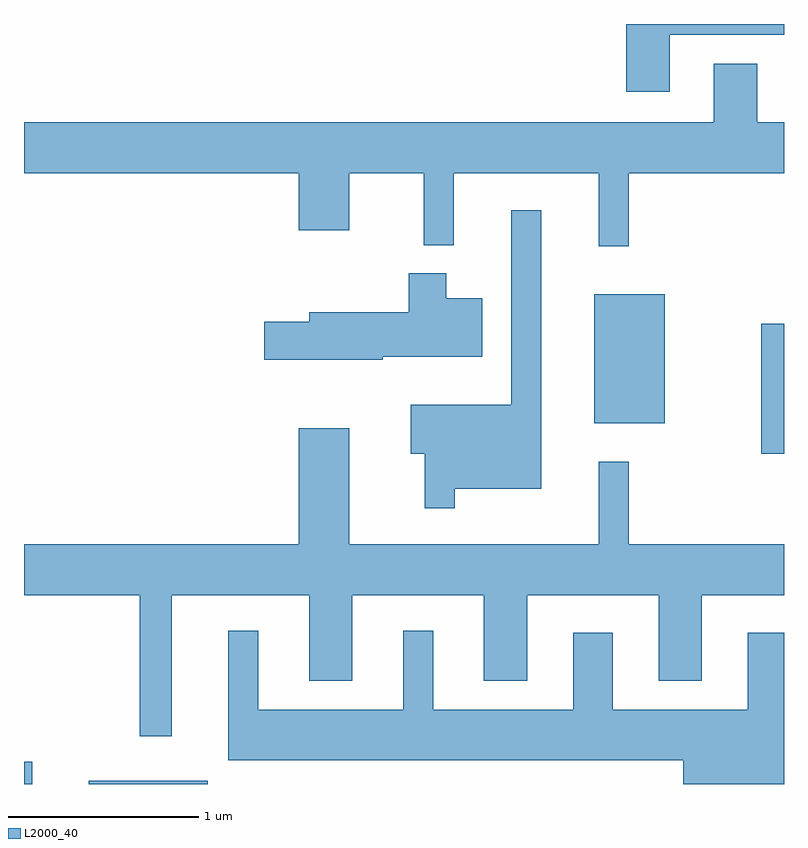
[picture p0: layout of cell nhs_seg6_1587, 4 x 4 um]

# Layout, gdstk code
import gdstk
lib = gdstk.Library(unit=1e-6, precision=1e-09)
def R(c, l, rs):  # rectangles x0, y0, x1, y1
    for r in rs: c.add(gdstk.rectangle(r[:2], r[2:], *l))
def P(c, l, *ps):  # polygons
    for p in ps: c.add(gdstk.Polygon(p, *l))
L2000_40 = (2000, 40)

nhs_seg6_1587 = lib.new_cell('nhs_seg6_1587')
R(nhs_seg6_1587, L2000_40, [(233.611,1540.162,233.654,1540.279), (233.951,1540.162,234.579,1540.179), (237.491,1541.901,237.611,1542.584), (236.611,1542.061,236.984,1542.739)])
P(nhs_seg6_1587, L2000_40, [(237.009,1544.106),(237.611,1544.106),(237.611,1544.162),(236.781,1544.162),(236.781,1543.806),(237.009,1543.806)],
  [(236.794,1543.376),(237.611,1543.376),(237.611,1543.644),(237.469,1543.644),(237.469,1543.954),(237.241,1543.954),(237.241,1543.644),(233.611,1543.644),(233.611,1543.376),(235.056,1543.376),(235.056,1543.076),(235.324,1543.076),(235.324,1543.376),(235.716,1543.376),(235.716,1542.998),(235.874,1542.998),(235.874,1543.376),(236.636,1543.376),(236.636,1542.993),(236.794,1542.993)],
  [(235.879,1541.716),(236.334,1541.716),(236.334,1543.183),(236.176,1543.183),(236.176,1542.159),(235.646,1542.159),(235.646,1541.901),(235.721,1541.901),(235.721,1541.613),(235.879,1541.613)],
  [(235.5,1542.411),(236.024,1542.411),(236.024,1542.719),(235.834,1542.719),(235.834,1542.849),(235.636,1542.849),(235.636,1542.644),(235.111,1542.644),(235.111,1542.594),(234.876,1542.594),(234.876,1542.396),(235.5,1542.396)],
  [(234.389,1541.156),(235.111,1541.156),(235.111,1540.706),(235.339,1540.706),(235.339,1541.156),(236.031,1541.156),(236.031,1540.706),(236.259,1540.706),(236.259,1541.156),(236.951,1541.156),(236.951,1540.706),(237.179,1540.706),(237.179,1541.156),(237.611,1541.156),(237.611,1541.424),(236.794,1541.424),(236.794,1541.858),(236.636,1541.858),(236.636,1541.424),(235.324,1541.424),(235.324,1542.034),(235.056,1542.034),(235.056,1541.424),(233.611,1541.424),(233.611,1541.156),(234.221,1541.156),(234.221,1540.413),(234.389,1540.413)],
  [(237.611,1540.959),(237.421,1540.959),(237.421,1540.554),(236.709,1540.554),(236.709,1540.959),(236.501,1540.959),(236.501,1540.554),(235.764,1540.554),(235.764,1540.968),(235.606,1540.968),(235.606,1540.554),(234.844,1540.554),(234.844,1540.968),(234.686,1540.968),(234.686,1540.286),(237.081,1540.286),(237.081,1540.162),(237.611,1540.162)])

lib.write_gds('nhs_seg6_1587.gds')
